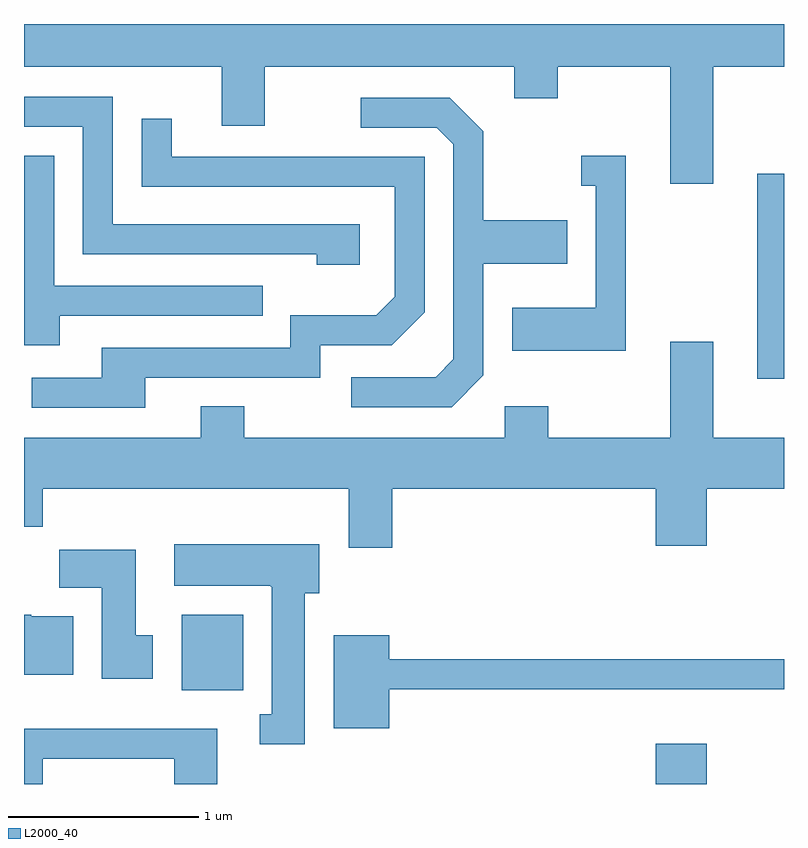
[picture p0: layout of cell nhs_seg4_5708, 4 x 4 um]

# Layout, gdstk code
import gdstk
lib = gdstk.Library(unit=1e-6, precision=1e-09)
def R(c, l, rs):  # rectangles x0, y0, x1, y1
    for r in rs: c.add(gdstk.rectangle(r[:2], r[2:], *l))
def P(c, l, *ps):  # polygons
    for p in ps: c.add(gdstk.Polygon(p, *l))
L2000_40 = (2000, 40)

nhs_seg4_5708 = lib.new_cell('nhs_seg4_5708')
R(nhs_seg4_5708, L2000_40, [(354.936,1381.982,355.204,1382.194), (352.441,1382.476,352.764,1382.874), (355.471,1384.116,355.611,1385.194)])
P(nhs_seg4_5708, L2000_40, [(355.239,1385.756),(355.611,1385.756),(355.611,1385.982),(351.611,1385.982),(351.611,1385.756),(352.651,1385.756),(352.651,1385.446),(352.879,1385.446),(352.879,1385.756),(354.191,1385.756),(354.191,1385.591),(354.419,1385.591),(354.419,1385.756),(355.011,1385.756),(355.011,1385.141),(355.239,1385.141)],
  [(353.379,1384.929),(352.079,1384.929),(352.079,1385.599),(351.611,1385.599),(351.611,1385.441),(351.921,1385.441),(351.921,1384.771),(353.151,1384.771),(353.151,1384.716),(353.379,1384.716)],
  [(354.029,1384.134),(354.029,1384.721),(354.469,1384.721),(354.469,1384.949),(354.029,1384.949),(354.029,1385.417),(353.852,1385.594),(353.383,1385.594),(353.383,1385.436),(353.784,1385.436),(353.871,1385.349),(353.871,1384.217),(353.779,1384.124),(353.333,1384.124),(353.333,1383.966),(353.862,1383.966)],
  [(352.249,1384.121),(353.169,1384.121),(353.169,1384.291),(353.547,1384.291),(353.719,1384.464),(353.719,1385.284),(352.389,1385.284),(352.389,1385.483),(352.231,1385.483),(352.231,1385.126),(353.561,1385.126),(353.561,1384.547),(353.464,1384.449),(353.011,1384.449),(353.011,1384.279),(352.021,1384.279),(352.021,1384.119),(351.653,1384.119),(351.653,1383.961),(352.249,1383.961)],
  [(354.779,1385.289),(354.543,1385.289),(354.543,1385.131),(354.621,1385.131),(354.621,1384.489),(354.181,1384.489),(354.181,1384.261),(354.779,1384.261)],
  [(351.799,1384.446),(352.868,1384.446),(352.868,1384.604),(351.769,1384.604),(351.769,1385.289),(351.611,1385.289),(351.611,1384.291),(351.799,1384.291)],
  [(353.549,1383.536),(354.936,1383.536),(354.936,1383.236),(355.204,1383.236),(355.204,1383.536),(355.611,1383.536),(355.611,1383.804),(355.239,1383.804),(355.239,1384.309),(355.011,1384.309),(355.011,1383.804),(354.369,1383.804),(354.369,1383.969),(354.141,1383.969),(354.141,1383.804),(352.769,1383.804),(352.769,1383.969),(352.541,1383.969),(352.541,1383.804),(351.611,1383.804),(351.611,1383.336),(351.709,1383.336),(351.709,1383.536),(353.321,1383.536),(353.321,1383.226),(353.549,1383.226)],
  [(353.089,1382.986),(353.164,1382.986),(353.164,1383.244),(352.401,1383.244),(352.401,1383.026),(352.91,1383.026),(352.91,1383.02),(352.916,1383.02),(352.916,1382.349),(352.853,1382.349),(352.853,1382.191),(353.089,1382.191)],
  [(352.289,1382.764),(352.199,1382.764),(352.199,1383.214),(351.796,1383.214),(351.796,1383.016),(352.021,1383.016),(352.021,1382.536),(352.289,1382.536)],
  [(351.869,1382.864),(351.65,1382.864),(351.65,1382.874),(351.611,1382.874),(351.611,1382.556),(351.869,1382.556)],
  [(353.534,1382.481),(355.611,1382.481),(355.611,1382.639),(353.534,1382.639),(353.534,1382.764),(353.241,1382.764),(353.241,1382.276),(353.534,1382.276)],
  [(351.709,1382.116),(352.401,1382.116),(352.401,1381.982),(352.629,1381.982),(352.629,1382.274),(351.611,1382.274),(351.611,1381.982),(351.709,1381.982)])

lib.write_gds('nhs_seg4_5708.gds')
